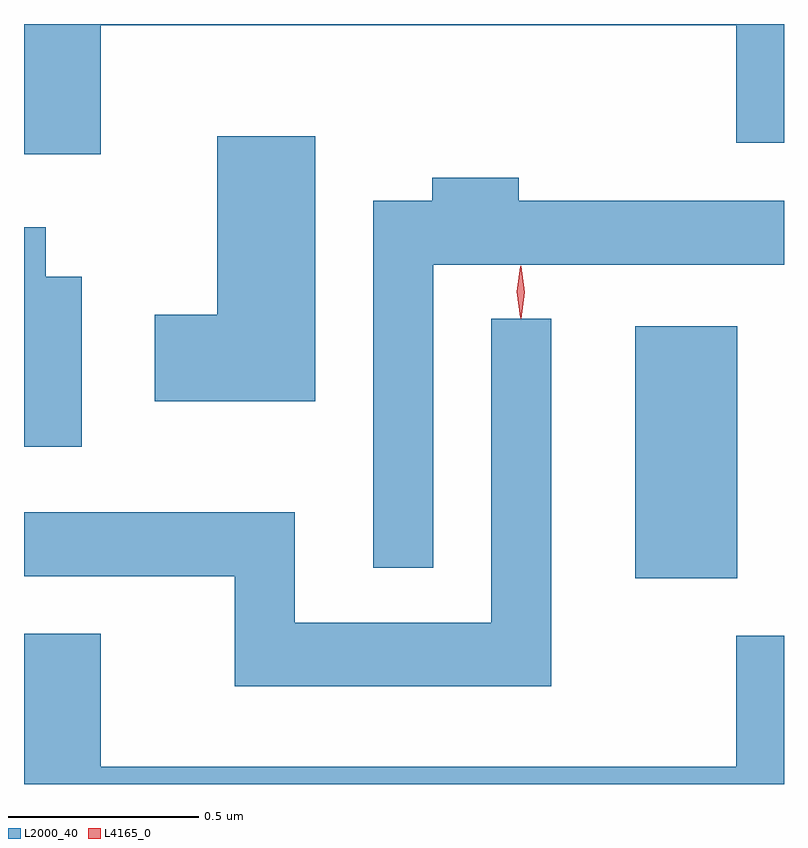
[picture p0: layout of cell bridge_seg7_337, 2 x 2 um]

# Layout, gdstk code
import gdstk
lib = gdstk.Library(unit=1e-6, precision=1e-09)
def R(c, l, rs):  # rectangles x0, y0, x1, y1
    for r in rs: c.add(gdstk.rectangle(r[:2], r[2:], *l))
def P(c, l, *ps):  # polygons
    for p in ps: c.add(gdstk.Polygon(p, *l))
L2000_40 = (2000, 40)
L4165_0 = (4165, 0)

bridge_seg7_337 = lib.new_cell('bridge_seg7_337')
R(bridge_seg7_337, L2000_40, [(1205.376,1763.921,1205.644,1764.584)])
P(bridge_seg7_337, L2000_40, [(1203.969,1765.376),(1205.641,1765.376),(1205.641,1765.066),(1205.767,1765.066),(1205.767,1765.379),(1203.767,1765.379),(1203.767,1765.036),(1203.969,1765.036)],
  [(1204.534,1765.084),(1204.276,1765.084),(1204.276,1764.614),(1204.111,1764.614),(1204.111,1764.386),(1204.534,1764.386)],
  [(1204.844,1764.746),(1205.767,1764.746),(1205.767,1764.914),(1205.069,1764.914),(1205.069,1764.974),(1204.841,1764.974),(1204.841,1764.914),(1204.686,1764.914),(1204.686,1763.948),(1204.844,1763.948)],
  [(1203.919,1764.714),(1203.824,1764.714),(1203.824,1764.844),(1203.767,1764.844),(1203.767,1764.266),(1203.919,1764.266)],
  [(1205.154,1764.603),(1204.996,1764.603),(1204.996,1763.804),(1204.479,1763.804),(1204.479,1764.094),(1203.767,1764.094),(1203.767,1763.926),(1204.321,1763.926),(1204.321,1763.636),(1205.154,1763.636)],
  [(1205.767,1763.769),(1205.641,1763.769),(1205.641,1763.424),(1203.969,1763.424),(1203.969,1763.774),(1203.767,1763.774),(1203.767,1763.379),(1205.767,1763.379)])
P(bridge_seg7_337, L4165_0, [(1205.074,1764.604),(1205.065,1764.673),(1205.074,1764.742),(1205.074,1764.743),(1205.075,1764.742),(1205.085,1764.673),(1205.075,1764.604),(1205.075,1764.604)],
  [(1205.073,1764.607),(1205.064,1764.674),(1205.073,1764.74),(1205.074,1764.741),(1205.074,1764.74),(1205.084,1764.674),(1205.074,1764.607),(1205.074,1764.607)])

lib.write_gds('bridge_seg7_337.gds')
